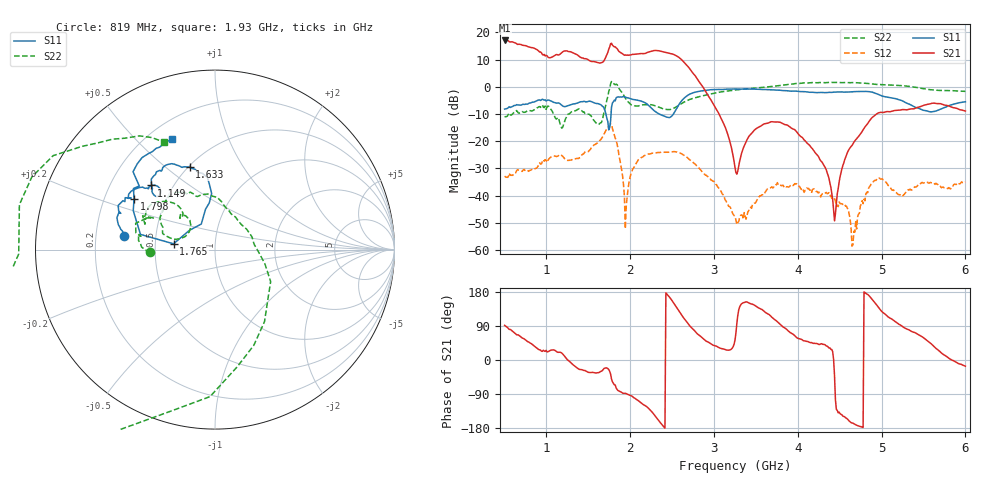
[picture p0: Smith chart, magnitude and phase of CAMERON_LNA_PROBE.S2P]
!Agilent Technologies,E5071C,MY46108981,A.11.08
!Date: Thu May 12 17:18:50 2016
!Data & Calibration Information:
!Freq	S11:SOLT2(ON)	S21:SOLT2(ON)	S12:SOLT2(ON)	S22:SOLT2(ON)
!PortZ  Port1:50+j0  Port2:50+j0
!Above PortZ is port z conversion or system Z0 setting when saving the data.
!When reading, reference impedance value at option line is always used.
# Hz S dB R 50
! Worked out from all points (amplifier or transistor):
!   501 points, 500 MHz to 6 GHz, reference 50 ohm
!   highest |S21| = 17.1 dB at 500 MHz (marker M1)
!   |S21| within 3 dB of that: start of sweep to 862.2 MHz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
!   unconditionally stable (mu >= 1): start of sweep to 1.715 GHz; 1.891 GHz to 3.592 GHz; 5.371 GHz to end of sweep
!   at 1.413 GHz: K = 1.57, MAG = 13.6 dB, |S12| = -25.4 dB
!   at 3.25 GHz: K = 140.02, MAG = -15.5 dB, |S12| = -47.7 dB
!   at 6 GHz: K = 17.47, MAG = -2.4 dB, |S12| = -35.0 dB
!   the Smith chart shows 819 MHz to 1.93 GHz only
!   S11 on the Smith chart (normalised r, x): 819 MHz: 0.32, +0.06; 1.149 GHz: 0.38, +0.36; 1.633 GHz: 0.51, +0.61; 1.765 GHz: 0.62, +0.04; 1.798 GHz: 0.33, +0.26; 1.93 GHz: 0.29, +0.64
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5e8  -8.18 -161.1  17.05 91.4  -32.84 18.9  -11.13 -142.4
8.19e8  -5.78 171.7  14.43 43.0  -30.52 -6.0  -8.85 -178.0
9.62e8  -4.72 152.0  11.70 25.8  -26.75 -17.5  -7.47 156.1
1.149e9  -5.97 134.7  11.77 20.5  -25.10 -49.5  -12.09 130.8
1.248e9  -6.99 138.1  13.18 1.1  -27.06 -65.7  -10.31 163.0
1.424e9  -5.45 129.3  10.62 -25.7  -24.98 -66.7  -8.85 117.7
1.633e9  -6.36 107.1  8.75 -32.2  -19.78 -98.9  -13.55 32.5
1.71e9  -10.10 93.4  11.07 -20.6  -15.94 -125.1  -6.25 -55.5
1.765e9  -12.64 172.1  15.82 -36.7  -13.57 -168.5  1.09 -117.8
1.798e9  -5.49 148.1  15.03 -61.2  -16.47 151.5  1.27 -164.5
1.853e9  -3.69 128.4  13.59 -80.5  -22.52 110.1  0.36 149.9
1.93e9  -3.61 111.2  11.61 -88.0  -40.18 53.0  -3.58 115.4
2.216e9  -6.74 81.3  12.77 -127.2  -24.72 -170.2  -6.52 72.1
2.337e9  -9.84 88.6  13.28 -159.3  -24.15 164.8  -7.43 23.0
2.48e9  -11.13 118.1  12.23 162.4  -23.88 136.3  -8.30 -46.5
2.601e9  -5.63 134.3  10.30 122.8  -24.42 104.1  -6.34 -95.6
2.799e9  -1.79 108.2  2.94 69.3  -29.21 60.0  -3.77 -149.1
3.25e9  -0.77 72.5  -29.65 52.5  -47.65 42.9  -1.16 155.6
4.174e9  -2.00 33.1  -22.73 44.7  -37.79 16.7  1.57 93.9
4.438e9  -1.97 27.1  -49.27 -42.2  -41.01 -36.2  1.61 77.7
5.087e9  -3.89 -2.9  -9.13 112.3  -36.59 -113.4  0.72 44.0
6e9  -5.49 21.3  -8.90 -16.3  -34.96 21.3  -1.67 11.2
